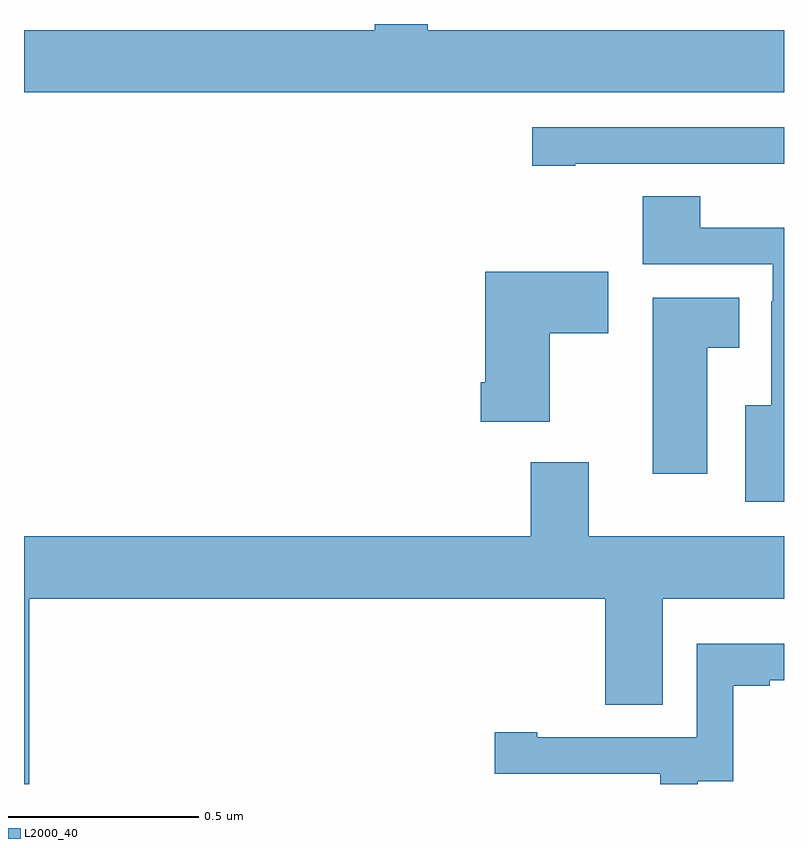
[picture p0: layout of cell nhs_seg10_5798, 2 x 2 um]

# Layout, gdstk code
import gdstk
lib = gdstk.Library(unit=1e-6, precision=1e-09)
def P(c, l, *ps):  # polygons
    for p in ps: c.add(gdstk.Polygon(p, *l))
L2000_40 = (2000, 40)

nhs_seg10_5798 = lib.new_cell('nhs_seg10_5798')
P(nhs_seg10_5798, L2000_40, [(185,1296.484),(184.063,1296.484),(184.063,1296.5),(183.923,1296.5),(183.923,1296.484),(183,1296.484),(183,1296.32),(185,1296.32)],
  [(184.45,1296.132),(185,1296.132),(185,1296.228),(184.338,1296.228),(184.338,1296.127),(184.45,1296.127)],
  [(185,1295.964),(184.78,1295.964),(184.78,1296.047),(184.628,1296.047),(184.628,1295.868),(184.971,1295.868),(184.971,1295.771),(184.967,1295.771),(184.967,1295.497),(184.898,1295.497),(184.898,1295.243),(185,1295.243)],
  [(184.384,1295.686),(184.537,1295.686),(184.537,1295.848),(184.214,1295.848),(184.214,1295.557),(184.202,1295.557),(184.202,1295.453),(184.384,1295.453)],
  [(184.798,1295.648),(184.882,1295.648),(184.882,1295.779),(184.655,1295.779),(184.655,1295.316),(184.798,1295.316)],
  [(183.014,1294.988),(184.529,1294.988),(184.529,1294.708),(184.681,1294.708),(184.681,1294.988),(185,1294.988),(185,1295.152),(184.486,1295.152),(184.486,1295.347),(184.334,1295.347),(184.334,1295.152),(183,1295.152),(183,1294.5),(183.014,1294.5)],
  [(184.773,1294.507),(184.867,1294.507),(184.867,1294.758),(184.963,1294.758),(184.963,1294.773),(185,1294.773),(185,1294.869),(184.77,1294.869),(184.77,1294.623),(184.351,1294.623),(184.351,1294.636),(184.239,1294.636),(184.239,1294.527),(184.673,1294.527),(184.673,1294.526),(184.674,1294.526),(184.674,1294.5),(184.773,1294.5)])

lib.write_gds('nhs_seg10_5798.gds')
